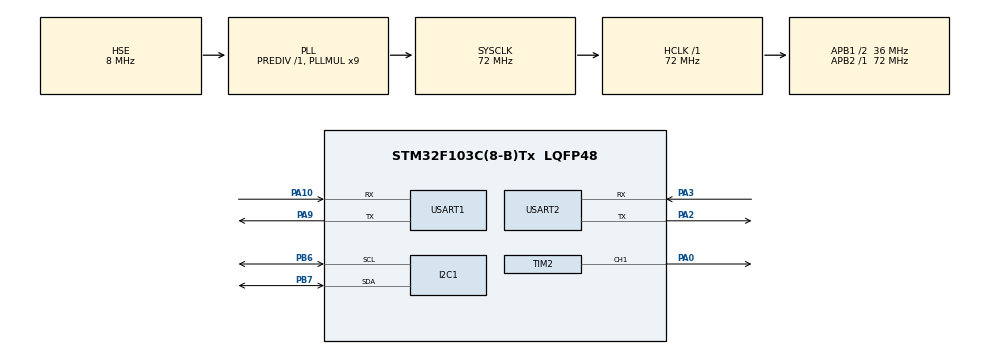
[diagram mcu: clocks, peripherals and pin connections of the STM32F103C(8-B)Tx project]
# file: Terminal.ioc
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Dma.Request0=USART1_RX
Dma.Request1=USART1_TX
Dma.Request2=USART2_RX
Dma.Request3=USART2_TX
Dma.USART1_RX.0.Direction=DMA_PERIPH_TO_MEMORY
Dma.USART1_RX.0.Instance=DMA1_Channel5
Dma.USART1_RX.0.MemDataAlignment=DMA_MDATAALIGN_BYTE
Dma.USART1_RX.0.MemInc=DMA_MINC_ENABLE
Dma.USART1_RX.0.Mode=DMA_NORMAL
Dma.USART1_RX.0.PeriphDataAlignment=DMA_PDATAALIGN_BYTE
Dma.USART1_RX.0.PeriphInc=DMA_PINC_DISABLE
Dma.USART1_RX.0.Priority=DMA_PRIORITY_LOW
Dma.USART1_TX.1.Direction=DMA_MEMORY_TO_PERIPH
Dma.USART1_TX.1.Instance=DMA1_Channel4
Dma.USART1_TX.1.MemDataAlignment=DMA_MDATAALIGN_BYTE
Dma.USART1_TX.1.MemInc=DMA_MINC_ENABLE
Dma.USART1_TX.1.Mode=DMA_NORMAL
Dma.USART1_TX.1.PeriphDataAlignment=DMA_PDATAALIGN_BYTE
Dma.USART1_TX.1.PeriphInc=DMA_PINC_DISABLE
Dma.USART1_TX.1.Priority=DMA_PRIORITY_LOW
Dma.USART2_RX.2.Direction=DMA_PERIPH_TO_MEMORY
Dma.USART2_RX.2.Instance=DMA1_Channel6
Dma.USART2_RX.2.MemDataAlignment=DMA_MDATAALIGN_BYTE
Dma.USART2_RX.2.MemInc=DMA_MINC_ENABLE
Dma.USART2_RX.2.Mode=DMA_NORMAL
Dma.USART2_RX.2.PeriphDataAlignment=DMA_PDATAALIGN_BYTE
Dma.USART2_RX.2.PeriphInc=DMA_PINC_DISABLE
Dma.USART2_RX.2.Priority=DMA_PRIORITY_LOW
Dma.USART2_TX.3.Direction=DMA_MEMORY_TO_PERIPH
Dma.USART2_TX.3.Instance=DMA1_Channel7
Dma.USART2_TX.3.MemDataAlignment=DMA_MDATAALIGN_BYTE
Dma.USART2_TX.3.MemInc=DMA_MINC_ENABLE
Dma.USART2_TX.3.Mode=DMA_NORMAL
Dma.USART2_TX.3.PeriphDataAlignment=DMA_PDATAALIGN_BYTE
Dma.USART2_TX.3.PeriphInc=DMA_PINC_DISABLE
Dma.USART2_TX.3.Priority=DMA_PRIORITY_LOW
Mcu.Family=STM32F1
Mcu.Name=STM32F103C(8-B)Tx
Mcu.Package=LQFP48
NVIC.DMA1_Channel4_IRQn=true\:1\:0\:true\:false\:true\:false\:true\:true
NVIC.DMA1_Channel5_IRQn=true\:1\:0\:true\:false\:true\:false\:true\:true
NVIC.DMA1_Channel6_IRQn=true\:1\:0\:true\:false\:true\:false\:true\:true
NVIC.DMA1_Channel7_IRQn=true\:1\:0\:true\:false\:true\:false\:true\:true
NVIC.PriorityGroup=NVIC_PRIORITYGROUP_4
NVIC.USART1_IRQn=true\:2\:0\:true\:false\:true\:false\:true\:true
NVIC.USART2_IRQn=true\:2\:0\:true\:false\:true\:false\:true\:true
PA0-WKUP.Signal=S_TIM2_CH1_ETR
PA10.Mode=Asynchronous
PA10.Signal=USART1_RX
PA13.Mode=Serial_Wire
PA13.Signal=SYS_JTMS-SWDIO
PA14.Mode=Serial_Wire
PA14.Signal=SYS_JTCK-SWCLK
PA2.Mode=Asynchronous
PA2.Signal=USART2_TX
PA3.Mode=Asynchronous
PA3.Signal=USART2_RX
PA9.Mode=Asynchronous
PA9.Signal=USART1_TX
PB6.Mode=I2C
PB6.Signal=I2C1_SCL
PB7.Mode=I2C
PB7.Signal=I2C1_SDA
PC14-OSC32_IN.Mode=LSE-External-Oscillator
PC14-OSC32_IN.Signal=RCC_OSC32_IN
PC15-OSC32_OUT.Mode=LSE-External-Oscillator
PC15-OSC32_OUT.Signal=RCC_OSC32_OUT
PD0-OSC_IN.Mode=HSE-External-Oscillator
PD0-OSC_IN.Signal=RCC_OSC_IN
PD1-OSC_OUT.Mode=HSE-External-Oscillator
PD1-OSC_OUT.Signal=RCC_OSC_OUT
ProjectManager.HeapSize=0x200
ProjectManager.StackSize=0x400
ProjectManager.TargetToolchain=MDK-ARM V5.32
RCC.AHBFreq_Value=72000000
RCC.APB1CLKDivider=RCC_HCLK_DIV2
RCC.APB1Freq_Value=36000000
RCC.APB1TimFreq_Value=72000000
RCC.APB2Freq_Value=72000000
RCC.APB2TimFreq_Value=72000000
RCC.HCLKFreq_Value=72000000
RCC.PLLMUL=RCC_PLL_MUL9
RCC.PLLSourceVirtual=RCC_PLLSOURCE_HSE
RCC.SYSCLKFreq_VALUE=72000000
RCC.SYSCLKSource=RCC_SYSCLKSOURCE_PLLCLK
RCC.USBFreq_Value=72000000
SH.S_TIM2_CH1_ETR.0=TIM2_CH1,PWM Generation1 CH1
TIM2.AutoReloadPreload=TIM_AUTORELOAD_PRELOAD_ENABLE
TIM2.Channel-PWM\ Generation1\ CH1=TIM_CHANNEL_1
TIM2.Period=1000-1
TIM2.Prescaler=72-1
TIM2.Pulse-PWM\ Generation1\ CH1=500
USART1.VirtualMode=VM_ASYNC
USART2.VirtualMode=VM_ASYNC
board=custom

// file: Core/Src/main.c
/* USER CODE BEGIN Header */
/**
 ******************************************************************************
 * @file           : main.c
 * @brief          : Main program body
 ******************************************************************************
 * @attention
 *
 * Copyright (c) 2024 STMicroelectronics.
 * All rights reserved.
 *
 * This software is licensed under terms that can be found in the LICENSE file
 * in the root directory of this software component.
 * If no LICENSE file comes with this software, it is provided AS-IS.
 *
 ******************************************************************************
 */
/* USER CODE END Header */
#include "main.h"
#include "dma.h"
#include "i2c.h"
#include "tim.h"
#include "usart.h"
#include "gpio.h"

/* USER CODE BEGIN PV */
uint8_t Fire_FLAG = 0,Smoke_FLAG = 0;
/* USER CODE END PV */

void SystemClock_Config(void);

int main(void)
{

  /* MCU Configuration--------------------------------------------------------*/

  /* Reset of all peripherals, Initializes the Flash interface and the Systick. */
  HAL_Init();

  /* Configure the system clock */
  SystemClock_Config();

  /* Initialize all configured peripherals */
  MX_GPIO_Init();
  MX_DMA_Init();
  MX_I2C1_Init();
  MX_USART1_UART_Init();
  MX_USART2_UART_Init();
  MX_TIM2_Init();
  /* USER CODE BEGIN 2 */
  HAL_UART_Transmit_DMA(&huart1, "System Start\n", 14);

  HAL_UARTEx_ReceiveToIdle_DMA(&huart1, receiveBuffer, 1024);
  __HAL_DMA_DISABLE_IT(&hdma_usart1_rx, DMA_IT_HT);
  HAL_UART_Transmit_DMA(&huart1, "UART1 Init Over\n", 17);

  AT_UART_Init();
  HAL_UART_Transmit_DMA(&huart1, "UART_AT Init Over\n", 17);

  AT_MQTT_Init();
  HAL_UART_Transmit_DMA(&huart1, "MQTT Link Over\n", 16);

  OLED_Init();
  OLED_Display_On();
  OLED_Clear();
	OLED_ShowString(0,0,"Smoke:",16,0);
	OLED_ShowString(0,2,"Flames:",16,0);
  HAL_UART_Transmit_DMA(&huart1, "System Init Over\n", 18);
  /* USER CODE END 2 */

  /* Infinite loop */
  while (1)
  {
		OLED_ShowString(6*8,0,mqtt_pub_data[0].value,16,0);
		OLED_ShowString(7*8,2,mqtt_pub_data[1].value,16,0);
		if(Fire_FLAG||Smoke_FLAG)
			HAL_TIM_PWM_Start(&htim2,TIM_CHANNEL_1);
		else
			HAL_TIM_PWM_Stop(&htim2,TIM_CHANNEL_1);
		if(Fire_FLAG&&!Smoke_FLAG){
			OLED_ShowString(0,4,"Flame Warning!",16,0);
		}else if(!Fire_FLAG&&Smoke_FLAG){
			OLED_ShowString(0,4,"Smoke Warning!",16,0);
		}else if(Fire_FLAG&&Smoke_FLAG){
			OLED_ShowString(0,4,"Flame Warning!",16,0);
			OLED_ShowString(0,6,"Smoke Warning!",16,0);
		}else{
			OLED_ShowString(0,4,"                ",16,0);
			OLED_ShowString(0,6,"                ",16,0);
		}
  }
}

void SystemClock_Config(void)
{
  RCC_OscInitTypeDef RCC_OscInitStruct = {0};
  RCC_ClkInitTypeDef RCC_ClkInitStruct = {0};

  /** Initializes the RCC Oscillators according to the specified parameters
  * in the RCC_OscInitTypeDef structure.
  */
  RCC_OscInitStruct.OscillatorType = RCC_OSCILLATORTYPE_HSE;
  RCC_OscInitStruct.HSEState = RCC_HSE_ON;
  RCC_OscInitStruct.HSEPredivValue = RCC_HSE_PREDIV_DIV1;
  RCC_OscInitStruct.HSIState = RCC_HSI_ON;
  RCC_OscInitStruct.PLL.PLLState = RCC_PLL_ON;
  RCC_OscInitStruct.PLL.PLLSource = RCC_PLLSOURCE_HSE;
  RCC_OscInitStruct.PLL.PLLMUL = RCC_PLL_MUL9;
  if (HAL_RCC_OscConfig(&RCC_OscInitStruct) != HAL_OK)
  {
    Error_Handler();
  }

  /** Initializes the CPU, AHB and APB buses clocks
  */
  RCC_ClkInitStruct.ClockType = RCC_CLOCKTYPE_HCLK|RCC_CLOCKTYPE_SYSCLK
                              |RCC_CLOCKTYPE_PCLK1|RCC_CLOCKTYPE_PCLK2;
  RCC_ClkInitStruct.SYSCLKSource = RCC_SYSCLKSOURCE_PLLCLK;
  RCC_ClkInitStruct.AHBCLKDivider = RCC_SYSCLK_DIV1;
  RCC_ClkInitStruct.APB1CLKDivider = RCC_HCLK_DIV2;
  RCC_ClkInitStruct.APB2CLKDivider = RCC_HCLK_DIV1;

  if (HAL_RCC_ClockConfig(&RCC_ClkInitStruct, FLASH_LATENCY_2) != HAL_OK)
  {
    Error_Handler();
  }
}

void Error_Handler(void)
{
  __disable_irq();
  while (1)
  {
  }
}
